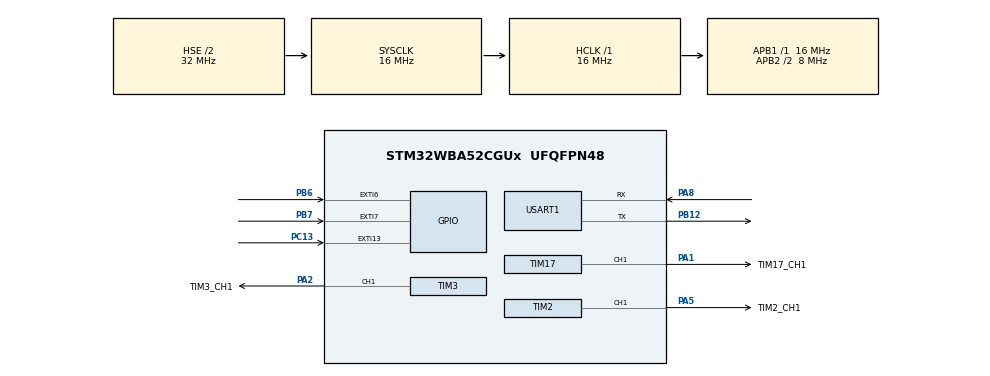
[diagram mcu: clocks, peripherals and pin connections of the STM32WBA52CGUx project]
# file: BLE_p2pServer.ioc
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ADC4.Channel-0\#ChannelRegularConversion=ADC_CHANNEL_TEMPSENSOR
ADC4.NbrOfConversionFlag=1
ADC4.Overrun=ADC_OVR_DATA_OVERWRITTEN
ADC4.Rank-0\#ChannelRegularConversion=1
ADC4.SamplingTime-0\#ChannelRegularConversion=ADC_SAMPLINGTIME_COMMON_1
ADC4.SamplingTimeCommon1=ADC_SAMPLETIME_814CYCLES_5
ADC4.SelectedChannel=ADC_CHANNEL_TEMPSENSOR
CORTEX_M33_NS.userName=CORTEX_M33
GPDMA1.DESTINC_GPDMACH1=DMA_DINC_INCREMENTED
GPDMA1.DIRECTION_GPDMACH0=DMA_MEMORY_TO_PERIPH
GPDMA1.IPHANDLE_GPDMACH0-SIMPLEREQUEST_GPDMACH0=__NULL
GPDMA1.IPHANDLE_GPDMACH1-SIMPLEREQUEST_GPDMACH1=__NULL
GPDMA1.REQUEST_GPDMACH0=GPDMA1_REQUEST_USART1_TX
GPDMA1.REQUEST_GPDMACH1=GPDMA1_REQUEST_USART1_RX
GPDMA1.SRCINC_GPDMACH0=DMA_SINC_INCREMENTED
Mcu.Family=STM32WBA
Mcu.Name=STM32WBA52CGUx
Mcu.Package=UFQFPN48
NVIC.EXTI13_IRQn=true\:9\:0\:true\:false\:true\:true\:true\:true
NVIC.EXTI6_IRQn=true\:9\:0\:true\:false\:true\:true\:true\:true
NVIC.EXTI7_IRQn=true\:9\:0\:true\:false\:true\:true\:true\:true
NVIC.GPDMA1_Channel0_IRQn=true\:6\:0\:true\:false\:true\:true\:true\:true
NVIC.GPDMA1_Channel1_IRQn=true\:5\:0\:true\:false\:true\:true\:true\:true
NVIC.PriorityGroup=NVIC_PRIORITYGROUP_4
NVIC.RADIO_IRQn=true\:0\:0\:true\:false\:true\:true\:false\:true
NVIC.RCC_IRQn=true\:1\:0\:true\:false\:true\:true\:false\:true
NVIC.RNG_IRQn=true\:0\:0\:false\:false\:true\:true\:true\:true
NVIC.RTC_IRQn=true\:4\:0\:true\:false\:true\:true\:true\:true
NVIC.USART1_IRQn=true\:7\:0\:true\:false\:true\:true\:true\:true
OSC_IN.Mode=HSE-External-Oscillator
OSC_IN.Signal=RCC_OSC_IN
OSC_OUT.Mode=HSE-External-Oscillator
OSC_OUT.Signal=RCC_OSC_OUT
PA1.GPIO_Label=TIM17_CH1
PA1.GPIO_PuPd=GPIO_PULLDOWN
PA1.Signal=S_TIM17_CH1
PA13\ (JTMS/SWDIO).Mode=Serial_Wire
PA13\ (JTMS/SWDIO).Signal=DEBUG_JTMS-SWDIO
PA14\ (JTCK/SWCLK).Mode=Serial_Wire
PA14\ (JTCK/SWCLK).Signal=DEBUG_JTCK-SWCLK
PA2.GPIO_Label=TIM3_CH1
PA2.GPIO_PuPd=GPIO_PULLDOWN
PA2.Signal=S_TIM3_CH1
PA5.GPIO_Label=TIM2_CH1
PA5.GPIO_PuPd=GPIO_PULLDOWN
PA5.Signal=S_TIM2_CH1
PA8.Mode=Asynchronous
PA8.Signal=USART1_RX
PB12.Mode=Asynchronous
PB12.Signal=USART1_TX
PB6.Signal=GPXTI6
PB7.Signal=GPXTI7
PC13.Signal=GPXTI13
PC14-OSC32_IN.Mode=LSE-External-Oscillator
PC14-OSC32_IN.Signal=RCC_OSC32_IN
PC15-OSC32_OUT.Mode=LSE-External-Oscillator
PC15-OSC32_OUT.Signal=RCC_OSC32_OUT
PWR.pwrPrivilege=PWR_PRIVILEGE_NO
ProjectManager.HeapSize=0x3000
ProjectManager.StackSize=0x1000
ProjectManager.TargetToolchain=STM32CubeIDE
RAMCFG.Instance-RAMCFG1_Activate=RAMCFG_SRAM1
RCC.ADCFreq_Value=16000000
RCC.AHBFreq_Value=16000000
RCC.APB1Freq_Value=16000000
RCC.APB1TimFreq_Value=16000000
RCC.APB2CLKDivider=RCC_HCLK_DIV2
RCC.APB2Freq_Value=8000000
RCC.APB2TimFreq_Value=16000000
RCC.CortexFreq_Value=16000000
RCC.HCLKFreq_Value=16000000
RCC.HSE_VALUE=32000000
RCC.HSI_VALUE=16000000
RCC.HseDiv=RCC_HSE_DIV2
RCC.PLLFRACN=0
RCC.PLLN=8
RCC.PREFETCH_ENABLE=1
RCC.PWR_Regulator_Voltage_Scale=PWR_REGULATOR_VOLTAGE_SCALE2
RCC.RCC_MCODiv=RCC_MCODIV_16
RCC.RSTClockSelectionVirtual=RCC_RADIOSTCLKSOURCE_LSE
RCC.RTCClockSelection=RCC_RTCCLKSOURCE_LSE
RCC.SYSCLKFreq_VALUE=16000000
RCC.SYSCLKSourceVirtual=RCC_SYSCLKSOURCE_HSE
RCC.USART1CLockSelectionVirtual=RCC_USART1CLKSOURCE_HSI
RCC.VCOOutputFreq_Value=128000000
RNG.ClockErrorDetection=RNG_CED_DISABLE
RTC.Alarm-Alarm\ A=RTC_ALARM_A
RTC.AsynchPrediv=31
RTC.BinMode=RTC_BINARY_ONLY
RTC.BinaryAutoClr_A-Alarm\ A=RTC_ALARMSUBSECONDBIN_AUTOCLR_NO
SH.S_TIM17_CH1.0=TIM17_CH1,PWM Generation1 CH1
SH.S_TIM2_CH1.0=TIM2_CH1,PWM Generation1 CH1
SH.S_TIM3_CH1.0=TIM3_CH1,PWM Generation1 CH1
STM32_WPAN.AD_TYPE_COMPLETE_LOCAL_NAME=p2pS_XX
STM32_WPAN.AD_TYPE_COMPLETE_LOCAL_NAME_LENGTH=8
STM32_WPAN.AD_TYPE_MANUFACTURER_DATA_NBR=12
STM32_WPAN.BLE_STACK_TYPE=BLE_STACK_TYPE_BASIC
STM32_WPAN.BSP.number=1
STM32_WPAN.CFG_AMM_VIRTUAL_BUFFER_SIZE_1=400
STM32_WPAN.CFG_BLE_ADDRESS_TYPE=GAP_PUBLIC_ADDR
STM32_WPAN.CFG_BLE_MAX_ATT_MTU=247
STM32_WPAN.CFG_BLE_NUM_LINK=8
STM32_WPAN.CFG_BONDING_MODE=1
STM32_WPAN.CFG_DEBUG_APP_TRACE=1
STM32_WPAN.CFG_DEBUG_TRACE_FULL=1
STM32_WPAN.CFG_DEBUG_TRACE_LIGHT=0
STM32_WPAN.CFG_GAP_DEVICE_NAME=Color LED Strip
STM32_WPAN.CFG_GAP_DEVICE_NAME_LENGTH=15
STM32_WPAN.CFG_HW_USART1_ENABLED=1
STM32_WPAN.CFG_MM_POOL_SIZE=4000
STM32_WPAN.CFG_TX_POWER=(0x19) /* 0x19 <\=> -0.3 dBm */
STM32_WPAN.GAP_PERIPHERAL_ROLE=1
STM32_WPAN.INCLUDE_AD_TYPE_COMPLETE_LOCAL_NAME=1
STM32_WPAN.INCLUDE_AD_TYPE_MANUFACTURER_SPECIFIC_DATA=1
STM32_WPAN.NEXT_EVENT_SCHEDULING_FROM_ISR=1
STM32_WPAN.NUMBER_OF_SERVICES=1
STM32_WPAN.PAIRING_PARAMETERS=ON
STM32_WPAN.RADIO_INTR_PRIO_LOW=3
STM32_WPAN.RADIO_SW_LOW_INTR_NUM=HASH_IRQn
STM32_WPAN.RT_DEBUG_GPIO_MODULE=0
STM32_WPAN.SERVICE1_CHAR1_GATT_NOTIFY_READ_REQ_AND_WAIT_FOR_APPL_RESP=\ 
STM32_WPAN.SERVICE1_CHAR1_GATT_NOTIFY_WRITE_REQ_AND_WAIT_FOR_APPL_RESP=\ 
STM32_WPAN.SERVICE1_CHAR1_LENGTH_CHARACTERISTIC=CHAR_VALUE_LEN_VARIABLE
STM32_WPAN.SERVICE1_CHAR1_LONG_NAME=My_LED_Char
STM32_WPAN.SERVICE1_CHAR1_PROP_READ=CHAR_PROP_READ
STM32_WPAN.SERVICE1_CHAR1_PROP_WRITE_WITHOUT_RESP=CHAR_PROP_WRITE_WITHOUT_RESP
STM32_WPAN.SERVICE1_CHAR1_SHORT_NAME=LED_C
STM32_WPAN.SERVICE1_CHAR1_UUID=FE 41
STM32_WPAN.SERVICE1_CHAR1_VALUE_LENGTH=3
STM32_WPAN.SERVICE1_CHAR2_GATT_NOTIFY_READ_REQ_AND_WAIT_FOR_APPL_RESP=\ 
STM32_WPAN.SERVICE1_CHAR2_GATT_NOTIFY_WRITE_REQ_AND_WAIT_FOR_APPL_RESP=\ 
STM32_WPAN.SERVICE1_CHAR2_LENGTH_CHARACTERISTIC=CHAR_VALUE_LEN_VARIABLE
STM32_WPAN.SERVICE1_CHAR2_LONG_NAME=My_Switch_Char
STM32_WPAN.SERVICE1_CHAR2_PROP_NOTIFY=CHAR_PROP_NOTIFY
STM32_WPAN.SERVICE1_CHAR2_PROP_WRITE=\ 
STM32_WPAN.SERVICE1_CHAR2_SHORT_NAME=SWITCH_C
STM32_WPAN.SERVICE1_CHAR2_UUID=FE 42
STM32_WPAN.SERVICE1_CHAR2_VALUE_LENGTH=2
STM32_WPAN.SERVICE1_LONG_NAME=P2P_Server
STM32_WPAN.SERVICE1_NUMBER_OF_CHARACTERISTICS=2
STM32_WPAN.SERVICE1_SHORT_NAME=P2P_Server
STM32_WPAN.SERVICE1_UUID=FE 40
STM32_WPAN.SNVMA_POLY_CRC16=1DB7
STM32_WPAN.STATIC_RANDOM_ADDRESS=0xABCDABCDABCD
STM32_WPAN0.BSP.STBoard=false
STM32_WPAN0.BSP.api=Unknown
STM32_WPAN0.BSP.condition=((USART1 | USART2 | S_LPUART) & (Semaphore_ADV_TRACE_TIMESTAMP_ENABLE | CFG_DEBUG_APP_TRACE | CFG_DEBUG_TRACE_LIGHT | CFG_DEBUG_TRACE_FULL))
STM32_WPAN0.BSP.instance=USART1
STM32_WPAN0.BSP.ip=(LPU|US)ART
STM32_WPAN0.BSP.mode=Asynchronous
STM32_WPAN0.BSP.name=Serial Link for Traces
STM32_WPAN0.BSP.solution=USART1
TIM17.Channel=TIM_CHANNEL_1
TIM17.PeriodNoDither=timxPeriod3
TIM17.Prescaler=timxPrescaler3
TIM17.PulseNoDither_1=((timxPeriod3+1)/2)
TIM2.Channel-PWM\ Generation1\ CH1=TIM_CHANNEL_1
TIM2.PeriodNoDither=timxPeriod2
TIM2.Prescaler=timxPrescaler2
TIM2.PulseNoDither_1=((timxPeriod2 + 1)/2)
TIM3.AutoReloadPreload=TIM_AUTORELOAD_PRELOAD_ENABLE
TIM3.Channel-PWM\ Generation1\ CH1=TIM_CHANNEL_1
TIM3.PeriodNoDither=timxPeriod
TIM3.Prescaler=timxPrescaler
TIM3.PulseNoDither_1=((timxPeriod +1)/2)
USART1.FIFOMode=FIFOMODE_ENABLE
USART1.OverSampling=UART_OVERSAMPLING_8
USART1.VirtualMode-Asynchronous=VM_ASYNC
VP_ADC4_TempSens_Input.Mode=IN-TempSens
VP_ADV_TRACE_VS_ADV_TRACE.Mode=ADV_TRACE_Enabled
VP_CRC_VS_CRC.Mode=CRC_Activate
VP_GPDMA1_VS_GPDMACH0.Mode=SIMPLEREQUEST_GPDMACH0
VP_GPDMA1_VS_GPDMACH1.Mode=SIMPLEREQUEST_GPDMACH1
VP_ICACHE_VS_ICACHE.Mode=DirectMappedCache
VP_MISC_VS_MISC.Mode=MISC_Enabled
VP_PWR_VS_SECSignals.Mode=Security/Privilege
VP_RAMCFG_VS_RAMCFG1.Mode=RAMCFG1_Activate
VP_RF_VS_RF.Mode=RF_Activate
VP_RNG_VS_RNG.Mode=RNG_Activate
VP_RTC_VS_RTC_Activate.Mode=RTC_Enabled
VP_RTC_VS_RTC_Alarm_A_Intern.Mode=Alarm A
VP_RTC_VS_RTC_Calendar.Mode=RTC_Calendar
VP_SEQUENCER_VS_SEQUENCER.Mode=SEQUENCER_Enabled
VP_STM32_WPAN_VS_BLE_HOST_SP.Mode=STM32_WPAN_Enabled_Server
VP_TIM17_VS_ClockSourceINT.Mode=Enable_Timer
VP_TIMER_VS_TIMER.Mode=TIMER_Enabled
VP_TINY_LPM_VS_TINY_LPM.Mode=TINY_LPM_Enabled
board=NUCLEO-WBA52CG

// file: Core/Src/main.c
/* USER CODE BEGIN Header */
/**
 ******************************************************************************
 * @file           : main.c
 * @brief          : Main program body
 ******************************************************************************
 * @attention
 *
 * Copyright (c) 2022 STMicroelectronics.
 * All rights reserved.
 *
 * This software is licensed under terms that can be found in the LICENSE file
 * in the root directory of this software component.
 * If no LICENSE file comes with this software, it is provided AS-IS.
 *
 ******************************************************************************
 */
/* USER CODE END Header */
#include "main.h"

/* USER CODE BEGIN PD */
/* Number of output compare modes */
#define TIM_DUTY_CYCLES_NB 11

/* USER CODE END PD */

ADC_HandleTypeDef hadc4;

CRC_HandleTypeDef hcrc;

RAMCFG_HandleTypeDef hramcfg_SRAM1;

RNG_HandleTypeDef hrng;

RTC_HandleTypeDef hrtc;

TIM_HandleTypeDef htim2;
TIM_HandleTypeDef htim3;
TIM_HandleTypeDef htim17;

UART_HandleTypeDef huart1;
DMA_HandleTypeDef handle_GPDMA1_Channel1;
DMA_HandleTypeDef handle_GPDMA1_Channel0;

/* USER CODE BEGIN PV */

/* Captured Value */
__IO uint32_t uwIC2Value = 0;
/* Duty Cycle Value */
__IO uint32_t uwDutyCycle = 0;
/* Frequency Value */
__IO uint32_t uwFrequency = 0;

/* Counter Prescaler value */
uint32_t uhPrescalerValue = 0;

/* Duty cycles: D = T/P * 100%                                                */
/* where T is the pulse duration and P  the period of the PWM signal          */
static uint32_t aDutyCycle[TIM_DUTY_CYCLES_NB] = { 0, /*  0% */
10, /* 10% */
20, /* 20% */
30, /* 30% */
40, /* 40% */
50, /* 50% */
60, /* 60% */
70, /* 70% */
80, /* 80% */
90, /* 90% */
100, /* 100% */
};

/* Measured duty cycle */
__IO uint32_t uwMeasuredDutyCycle = 0;

/* TIM2 Clock */
static uint32_t TimOutClock = 1;
uint32_t timxPrescaler = 0;
uint32_t timxPeriod = 0;
uint32_t timxPrescaler2 = 0;
uint32_t timxPeriod2 = 0;
uint32_t timxPrescaler3 = 0;
uint32_t timxPeriod3 = 0;

/* USER CODE END PV */

void SystemClock_Config(void);
void PeriphCommonClock_Config(void);
static void MX_GPDMA1_Init(void);
static void MX_ADC4_Init(void);
static void MX_TIM3_Init(void);
static void MX_TIM2_Init(void);
static void MX_TIM17_Init(void);
/* USER CODE BEGIN PFP */
__STATIC_INLINE void Configure_DutyCycle(uint32_t R, uint32_t G, uint32_t B);
void UserButton_Callback(void);
/* USER CODE END PFP */

int main(void)
{
  /* USER CODE BEGIN 1 */

	/* STM32WBAxx HAL library initialization:
	 - Systick timer is configured by default as source of time base, but user
	 can eventually implement his proper time base source (a general purpose
	 timer for example or other time source), keeping in mind that Time base
	 duration should be kept 1ms since PPP_TIMEOUT_VALUEs are defined and
	 handled in milliseconds basis.
	 - Set NVIC Group Priority to 4
	 - Low Level Initialization
	 */

  /* USER CODE END 1 */

  /* MCU Configuration--------------------------------------------------------*/

  /* Reset of all peripherals, Initializes the Flash interface and the Systick. */
  HAL_Init();
  /* Config code for STM32_WPAN (HSE Tuning must be done before system clock configuration) */
  MX_APPE_Config();

  /* Configure the system clock */
  SystemClock_Config();

/* Configure the peripherals common clocks */
  PeriphCommonClock_Config();

  /* USER CODE BEGIN SysInit */
	/* - Set the pre-scaler value to have TIM3 counter clock equal to 10 kHz  */
	/* - Set the auto-reload value to have a counter frequency of 100 Hz        */
	/* TIM3CLK = SystemCoreClock / (APB prescaler & multiplier)               */
	TimOutClock = SystemCoreClock / 1;
	timxPrescaler = __LL_TIM_CALC_PSC(SystemCoreClock, 10000);
	timxPeriod = __LL_TIM_CALC_ARR(TimOutClock, timxPrescaler, 200);
	timxPrescaler2 = __LL_TIM_CALC_PSC(SystemCoreClock, 10000);
	timxPeriod2 = __LL_TIM_CALC_ARR(TimOutClock, timxPrescaler2, 200);
	timxPrescaler3 = __LL_TIM_CALC_PSC(SystemCoreClock, 10000);
	timxPeriod3 = __LL_TIM_CALC_ARR(TimOutClock, timxPrescaler3, 200);
  /* USER CODE END SysInit */

  /* Initialize all configured peripherals */
  MX_GPIO_Init();
  MX_GPDMA1_Init();
  MX_ICACHE_Init();
  MX_RAMCFG_Init();
  MX_RTC_Init();
  MX_USART1_UART_Init();
  MX_ADC4_Init();
  MX_RNG_Init();
  MX_TIM3_Init();
  MX_TIM2_Init();
  MX_TIM17_Init();
  /* USER CODE BEGIN 2 */

	if (HAL_TIM_PWM_Start(&htim2, TIM_CHANNEL_1) != HAL_OK) {
		/* PWM Generation Error */
		Error_Handler();
	}
	/* Start Input waveform generation */
	if (HAL_TIM_PWM_Start(&htim3, TIM_CHANNEL_1) != HAL_OK) {
		/* PWM Generation Error */
		Error_Handler();
	}
	if (HAL_TIM_PWM_Start(&htim17, TIM_CHANNEL_1) != HAL_OK) {
		/* PWM Generation Error */
		Error_Handler();
	}
	/**************************/
	/* TIM3 interrupts set-up */
	/**************************/
	LL_TIM_EnableIT_CC1(TIM2);
	/* Enable the capture/compare interrupt for channel 1 */
	LL_TIM_EnableIT_CC1(TIM3);
	LL_TIM_EnableIT_CC1(TIM17);

	/**********************************/
	/* Start output signal generation */
	/**********************************/
	LL_TIM_CC_EnableChannel(TIM2, LL_TIM_CHANNEL_CH1);
	/* Enable output channel 1 */
	LL_TIM_CC_EnableChannel(TIM3, LL_TIM_CHANNEL_CH1);
	LL_TIM_CC_EnableChannel(TIM17, LL_TIM_CHANNEL_CH1);

	/* Enable counter */
	LL_TIM_EnableCounter(TIM2);
	LL_TIM_EnableCounter(TIM3);
	LL_TIM_EnableCounter(TIM17);

	/* Force update generation */
	LL_TIM_GenerateEvent_UPDATE(TIM2);
	LL_TIM_GenerateEvent_UPDATE(TIM3);
	LL_TIM_GenerateEvent_UPDATE(TIM17);
  /* USER CODE END 2 */

  /* Init code for STM32_WPAN */
  MX_APPE_Init(NULL);

  /* Infinite loop */
  /* USER CODE BEGIN WHILE */
	__HAL_TIM_SET_COMPARE(&htim3, TIM_CHANNEL_1, 50);
	__HAL_TIM_SET_COMPARE(&htim2, TIM_CHANNEL_1, 50);
	__HAL_TIM_SET_COMPARE(&htim17, TIM_CHANNEL_1, 50);

	while (1) {
    /* USER CODE END WHILE */
    MX_APPE_Process();

	}
}

void SystemClock_Config(void)
{
  RCC_OscInitTypeDef RCC_OscInitStruct = {0};
  RCC_ClkInitTypeDef RCC_ClkInitStruct = {0};

  /** Configure the main internal regulator output voltage
  */
  if (HAL_PWREx_ControlVoltageScaling(PWR_REGULATOR_VOLTAGE_SCALE2) != HAL_OK)
  {
    Error_Handler();
  }

  /** Configure LSE Drive Capability
  */
  HAL_PWR_EnableBkUpAccess();
  __HAL_RCC_LSEDRIVE_CONFIG(RCC_LSEDRIVE_MEDIUMLOW);

  /** Initializes the CPU, AHB and APB busses clocks
  */
  RCC_OscInitStruct.OscillatorType = RCC_OSCILLATORTYPE_HSI|RCC_OSCILLATORTYPE_HSE
                              |RCC_OSCILLATORTYPE_LSE;
  RCC_OscInitStruct.HSEState = RCC_HSE_ON;
  RCC_OscInitStruct.HSEDiv = RCC_HSE_DIV2;
  RCC_OscInitStruct.LSEState = RCC_LSE_ON;
  RCC_OscInitStruct.HSIState = RCC_HSI_ON;
  RCC_OscInitStruct.HSICalibrationValue = RCC_HSICALIBRATION_DEFAULT;
  RCC_OscInitStruct.PLL1.PLLState = RCC_PLL_NONE;
  if (HAL_RCC_OscConfig(&RCC_OscInitStruct) != HAL_OK)
  {
    Error_Handler();
  }

  /** Initializes the CPU, AHB and APB busses clocks
  */
  RCC_ClkInitStruct.ClockType = RCC_CLOCKTYPE_HCLK|RCC_CLOCKTYPE_SYSCLK
                              |RCC_CLOCKTYPE_PCLK1|RCC_CLOCKTYPE_PCLK2
                              |RCC_CLOCKTYPE_PCLK7|RCC_CLOCKTYPE_HCLK5;
  RCC_ClkInitStruct.SYSCLKSource = RCC_SYSCLKSOURCE_HSE;
  RCC_ClkInitStruct.AHBCLKDivider = RCC_SYSCLK_DIV1;
  RCC_ClkInitStruct.APB1CLKDivider = RCC_HCLK_DIV1;
  RCC_ClkInitStruct.APB2CLKDivider = RCC_HCLK_DIV2;
  RCC_ClkInitStruct.APB7CLKDivider = RCC_HCLK_DIV1;
  RCC_ClkInitStruct.AHB5_PLL1_CLKDivider = RCC_SYSCLK_PLL1_DIV1;
  RCC_ClkInitStruct.AHB5_HSEHSI_CLKDivider = RCC_SYSCLK_HSEHSI_DIV1;

  if (HAL_RCC_ClockConfig(&RCC_ClkInitStruct, FLASH_LATENCY_1) != HAL_OK)
  {
    Error_Handler();
  }
}

void PeriphCommonClock_Config(void)
{
  RCC_PeriphCLKInitTypeDef PeriphClkInit = {0};

  /** Initializes the peripherals clock
  */
  PeriphClkInit.PeriphClockSelection = RCC_PERIPHCLK_RADIOST;
  PeriphClkInit.RadioSlpTimClockSelection = RCC_RADIOSTCLKSOURCE_LSE;

  if (HAL_RCCEx_PeriphCLKConfig(&PeriphClkInit) != HAL_OK)
  {
    Error_Handler();
  }
}

static void MX_ADC4_Init(void)
{

  ADC_ChannelConfTypeDef sConfig = {0};

  /** Common config
  */
  hadc4.Instance = ADC4;
  hadc4.Init.ClockPrescaler = ADC_CLOCK_ASYNC_DIV1;
  hadc4.Init.Resolution = ADC_RESOLUTION_12B;
  hadc4.Init.DataAlign = ADC_DATAALIGN_RIGHT;
  hadc4.Init.ScanConvMode = ADC_SCAN_DISABLE;
  hadc4.Init.EOCSelection = ADC_EOC_SINGLE_CONV;
  hadc4.Init.LowPowerAutoPowerOff = DISABLE;
  hadc4.Init.LowPowerAutonomousDPD = ADC_LP_AUTONOMOUS_DPD_DISABLE;
  hadc4.Init.LowPowerAutoWait = DISABLE;
  hadc4.Init.ContinuousConvMode = DISABLE;
  hadc4.Init.NbrOfConversion = 1;
  hadc4.Init.ExternalTrigConv = ADC_SOFTWARE_START;
  hadc4.Init.ExternalTrigConvEdge = ADC_EXTERNALTRIGCONVEDGE_NONE;
  hadc4.Init.DMAContinuousRequests = DISABLE;
  hadc4.Init.TriggerFrequencyMode = ADC_TRIGGER_FREQ_LOW;
  hadc4.Init.Overrun = ADC_OVR_DATA_OVERWRITTEN;
  hadc4.Init.SamplingTimeCommon1 = ADC_SAMPLETIME_814CYCLES_5;
  hadc4.Init.SamplingTimeCommon2 = ADC_SAMPLETIME_1CYCLE_5;
  hadc4.Init.OversamplingMode = DISABLE;
  if (HAL_ADC_Init(&hadc4) != HAL_OK)
  {
    Error_Handler();
  }

  /** Configure Regular Channel
  */
  sConfig.Channel = ADC_CHANNEL_TEMPSENSOR;
  sConfig.Rank = ADC_REGULAR_RANK_1;
  sConfig.SamplingTime = ADC_SAMPLINGTIME_COMMON_1;
  if (HAL_ADC_ConfigChannel(&hadc4, &sConfig) != HAL_OK)
  {
    Error_Handler();
  }

}

void MX_CRC_Init(void)
{

  hcrc.Instance = CRC;
  hcrc.Init.DefaultPolynomialUse = DEFAULT_POLYNOMIAL_DISABLE;
  hcrc.Init.DefaultInitValueUse = DEFAULT_INIT_VALUE_ENABLE;
  hcrc.Init.GeneratingPolynomial = 7;
  hcrc.Init.CRCLength = CRC_POLYLENGTH_16B;
  hcrc.Init.InputDataInversionMode = CRC_INPUTDATA_INVERSION_NONE;
  hcrc.Init.OutputDataInversionMode = CRC_OUTPUTDATA_INVERSION_DISABLE;
  hcrc.InputDataFormat = CRC_INPUTDATA_FORMAT_WORDS;
  if (HAL_CRC_Init(&hcrc) != HAL_OK)
  {
    Error_Handler();
  }

}

static void MX_GPDMA1_Init(void)
{

  /* Peripheral clock enable */
  __HAL_RCC_GPDMA1_CLK_ENABLE();

  /* GPDMA1 interrupt Init */
    HAL_NVIC_SetPriority(GPDMA1_Channel0_IRQn, 6, 0);
    HAL_NVIC_EnableIRQ(GPDMA1_Channel0_IRQn);
    HAL_NVIC_SetPriority(GPDMA1_Channel1_IRQn, 5, 0);
    HAL_NVIC_EnableIRQ(GPDMA1_Channel1_IRQn);

}

void MX_ICACHE_Init(void)
{

  /* USER CODE BEGIN ICACHE_Init 1 */
	/* No retention for ICACHE in stop mode */
	LL_PWR_SetICacheRAMStopRetention(LL_PWR_ICACHERAM_STOP_NO_RETENTION);
  /* USER CODE END ICACHE_Init 1 */

  /** Enable instruction cache in 1-way (direct mapped cache)
  */
  if (HAL_ICACHE_ConfigAssociativityMode(ICACHE_1WAY) != HAL_OK)
  {
    Error_Handler();
  }
  if (HAL_ICACHE_Enable() != HAL_OK)
  {
    Error_Handler();
  }

}

void MX_RAMCFG_Init(void)
{

  /** Initialize RAMCFG SRAM1
  */
  hramcfg_SRAM1.Instance = RAMCFG_SRAM1;
  if (HAL_RAMCFG_Init(&hramcfg_SRAM1) != HAL_OK)
  {
    Error_Handler();
  }

}

void MX_RNG_Init(void)
{

  /* USER CODE BEGIN RNG_Init 0 */
	memset(&hrng, 0, sizeof(hrng));
  /* USER CODE END RNG_Init 0 */

  hrng.Instance = RNG;
  hrng.Init.ClockErrorDetection = RNG_CED_DISABLE;
  if (HAL_RNG_Init(&hrng) != HAL_OK)
  {
    Error_Handler();
  }
  /* USER CODE BEGIN RNG_Init 2 */

	/* Disable RNG peripheral and its RCC clock */
	HW_RNG_Disable();

  /* USER CODE END RNG_Init 2 */

}

void MX_RTC_Init(void)
{

  RTC_PrivilegeStateTypeDef privilegeState = {0};
  RTC_AlarmTypeDef sAlarm = {0};

  /** Initialize RTC Only
  */
  hrtc.Instance = RTC;
  hrtc.Init.AsynchPrediv = 31;
  hrtc.Init.OutPut = RTC_OUTPUT_DISABLE;
  hrtc.Init.OutPutRemap = RTC_OUTPUT_REMAP_NONE;
  hrtc.Init.OutPutPolarity = RTC_OUTPUT_POLARITY_HIGH;
  hrtc.Init.OutPutType = RTC_OUTPUT_TYPE_OPENDRAIN;
  hrtc.Init.OutPutPullUp = RTC_OUTPUT_PULLUP_NONE;
  hrtc.Init.BinMode = RTC_BINARY_ONLY;
  if (HAL_RTC_Init(&hrtc) != HAL_OK)
  {
    Error_Handler();
  }
  privilegeState.rtcPrivilegeFull = RTC_PRIVILEGE_FULL_NO;
  privilegeState.backupRegisterPrivZone = RTC_PRIVILEGE_BKUP_ZONE_NONE;
  privilegeState.backupRegisterStartZone2 = RTC_BKP_DR0;
  privilegeState.backupRegisterStartZone3 = RTC_BKP_DR0;
  if (HAL_RTCEx_PrivilegeModeSet(&hrtc, &privilegeState) != HAL_OK)
  {
    Error_Handler();
  }

  /** Initialize RTC and set the Time and Date
  */
  if (HAL_RTCEx_SetSSRU_IT(&hrtc) != HAL_OK)
  {
    Error_Handler();
  }

  /** Enable the Alarm A
  */
  sAlarm.BinaryAutoClr = RTC_ALARMSUBSECONDBIN_AUTOCLR_NO;
  sAlarm.AlarmTime.SubSeconds = 0x0;
  sAlarm.AlarmMask = RTC_ALARMMASK_NONE;
  sAlarm.AlarmSubSecondMask = RTC_ALARMSUBSECONDBINMASK_NONE;
  sAlarm.Alarm = RTC_ALARM_A;
  if (HAL_RTC_SetAlarm_IT(&hrtc, &sAlarm, RTC_FORMAT_BCD) != HAL_OK)
  {
    Error_Handler();
  }

}

static void MX_TIM2_Init(void)
{

  TIM_MasterConfigTypeDef sMasterConfig = {0};
  TIM_OC_InitTypeDef sConfigOC = {0};

  htim2.Instance = TIM2;
  htim2.Init.Prescaler = timxPrescaler2;
  htim2.Init.CounterMode = TIM_COUNTERMODE_UP;
  htim2.Init.Period = timxPeriod2;
  htim2.Init.ClockDivision = TIM_CLOCKDIVISION_DIV1;
  htim2.Init.AutoReloadPreload = TIM_AUTORELOAD_PRELOAD_DISABLE;
  if (HAL_TIM_PWM_Init(&htim2) != HAL_OK)
  {
    Error_Handler();
  }
  sMasterConfig.MasterOutputTrigger = TIM_TRGO_RESET;
  sMasterConfig.MasterSlaveMode = TIM_MASTERSLAVEMODE_DISABLE;
  if (HAL_TIMEx_MasterConfigSynchronization(&htim2, &sMasterConfig) != HAL_OK)
  {
    Error_Handler();
  }
  sConfigOC.OCMode = TIM_OCMODE_PWM1;
  sConfigOC.Pulse = ((timxPeriod2 + 1)/2);
  sConfigOC.OCPolarity = TIM_OCPOLARITY_HIGH;
  sConfigOC.OCFastMode = TIM_OCFAST_DISABLE;
  if (HAL_TIM_PWM_ConfigChannel(&htim2, &sConfigOC, TIM_CHANNEL_1) != HAL_OK)
  {
    Error_Handler();
  }
  HAL_TIM_MspPostInit(&htim2);

}

static void MX_TIM3_Init(void)
{

  TIM_MasterConfigTypeDef sMasterConfig = {0};
  TIM_OC_InitTypeDef sConfigOC = {0};

  htim3.Instance = TIM3;
  htim3.Init.Prescaler = timxPrescaler;
  htim3.Init.CounterMode = TIM_COUNTERMODE_UP;
  htim3.Init.Period = timxPeriod;
  htim3.Init.ClockDivision = TIM_CLOCKDIVISION_DIV1;
  htim3.Init.AutoReloadPreload = TIM_AUTORELOAD_PRELOAD_ENABLE;
  if (HAL_TIM_PWM_Init(&htim3) != HAL_OK)
  {
    Error_Handler();
  }
  sMasterConfig.MasterOutputTrigger = TIM_TRGO_RESET;
  sMasterConfig.MasterSlaveMode = TIM_MASTERSLAVEMODE_DISABLE;
  if (HAL_TIMEx_MasterConfigSynchronization(&htim3, &sMasterConfig) != HAL_OK)
  {
    Error_Handler();
  }
  sConfigOC.OCMode = TIM_OCMODE_PWM1;
  sConfigOC.Pulse = ((timxPeriod +1)/2);
  sConfigOC.OCPolarity = TIM_OCPOLARITY_HIGH;
  sConfigOC.OCFastMode = TIM_OCFAST_DISABLE;
  if (HAL_TIM_PWM_ConfigChannel(&htim3, &sConfigOC, TIM_CHANNEL_1) != HAL_OK)
  {
    Error_Handler();
  }
  HAL_TIM_MspPostInit(&htim3);

}

static void MX_TIM17_Init(void)
{

  TIM_OC_InitTypeDef sConfigOC = {0};
  TIM_BreakDeadTimeConfigTypeDef sBreakDeadTimeConfig = {0};

  htim17.Instance = TIM17;
  htim17.Init.Prescaler = timxPrescaler3;
  htim17.Init.CounterMode = TIM_COUNTERMODE_UP;
  htim17.Init.Period = timxPeriod3;
  htim17.Init.ClockDivision = TIM_CLOCKDIVISION_DIV1;
  htim17.Init.RepetitionCounter = 0;
  htim17.Init.AutoReloadPreload = TIM_AUTORELOAD_PRELOAD_DISABLE;
  if (HAL_TIM_Base_Init(&htim17) != HAL_OK)
  {
    Error_Handler();
  }
  if (HAL_TIM_PWM_Init(&htim17) != HAL_OK)
  {
    Error_Handler();
  }
  sConfigOC.OCMode = TIM_OCMODE_PWM1;
  sConfigOC.Pulse = ((timxPeriod3+1)/2);
  sConfigOC.OCPolarity = TIM_OCPOLARITY_HIGH;
  sConfigOC.OCNPolarity = TIM_OCNPOLARITY_HIGH;
  sConfigOC.OCFastMode = TIM_OCFAST_DISABLE;
  sConfigOC.OCIdleState = TIM_OCIDLESTATE_RESET;
  sConfigOC.OCNIdleState = TIM_OCNIDLESTATE_RESET;
  if (HAL_TIM_PWM_ConfigChannel(&htim17, &sConfigOC, TIM_CHANNEL_1) != HAL_OK)
  {
    Error_Handler();
  }
  sBreakDeadTimeConfig.OffStateRunMode = TIM_OSSR_DISABLE;
  sBreakDeadTimeConfig.OffStateIDLEMode = TIM_OSSI_DISABLE;
  sBreakDeadTimeConfig.LockLevel = TIM_LOCKLEVEL_OFF;
  sBreakDeadTimeConfig.DeadTime = 0;
  sBreakDeadTimeConfig.BreakState = TIM_BREAK_DISABLE;
  sBreakDeadTimeConfig.BreakPolarity = TIM_BREAKPOLARITY_HIGH;
  sBreakDeadTimeConfig.BreakFilter = 0;
  sBreakDeadTimeConfig.AutomaticOutput = TIM_AUTOMATICOUTPUT_DISABLE;
  if (HAL_TIMEx_ConfigBreakDeadTime(&htim17, &sBreakDeadTimeConfig) != HAL_OK)
  {
    Error_Handler();
  }
  HAL_TIM_MspPostInit(&htim17);

}

void MX_USART1_UART_Init(void)
{

  huart1.Instance = USART1;
  huart1.Init.BaudRate = 115200;
  huart1.Init.WordLength = UART_WORDLENGTH_8B;
  huart1.Init.StopBits = UART_STOPBITS_1;
  huart1.Init.Parity = UART_PARITY_NONE;
  huart1.Init.Mode = UART_MODE_TX_RX;
  huart1.Init.HwFlowCtl = UART_HWCONTROL_NONE;
  huart1.Init.OverSampling = UART_OVERSAMPLING_8;
  huart1.Init.OneBitSampling = UART_ONE_BIT_SAMPLE_DISABLE;
  huart1.Init.ClockPrescaler = UART_PRESCALER_DIV1;
  huart1.AdvancedInit.AdvFeatureInit = UART_ADVFEATURE_NO_INIT;
  if (HAL_UART_Init(&huart1) != HAL_OK)
  {
    Error_Handler();
  }
  if (HAL_UARTEx_SetTxFifoThreshold(&huart1, UART_TXFIFO_THRESHOLD_1_8) != HAL_OK)
  {
    Error_Handler();
  }
  if (HAL_UARTEx_SetRxFifoThreshold(&huart1, UART_RXFIFO_THRESHOLD_1_8) != HAL_OK)
  {
    Error_Handler();
  }
  if (HAL_UARTEx_EnableFifoMode(&huart1) != HAL_OK)
  {
    Error_Handler();
  }

}

void MX_GPIO_Init(void)
{
  GPIO_InitTypeDef GPIO_InitStruct = {0};

  /* GPIO Ports Clock Enable */
  __HAL_RCC_GPIOB_CLK_ENABLE();
  __HAL_RCC_GPIOA_CLK_ENABLE();
  __HAL_RCC_GPIOC_CLK_ENABLE();

  /*RT DEBUG GPIO_Init */
  RT_DEBUG_GPIO_Init();

  /*Configure GPIO pin : PC13 */
  GPIO_InitStruct.Pin = GPIO_PIN_13;
  GPIO_InitStruct.Mode = GPIO_MODE_IT_RISING;
  GPIO_InitStruct.Pull = GPIO_NOPULL;
  HAL_GPIO_Init(GPIOC, &GPIO_InitStruct);

  /*Configure GPIO pins : PB7 PB6 */
  GPIO_InitStruct.Pin = GPIO_PIN_7|GPIO_PIN_6;
  GPIO_InitStruct.Mode = GPIO_MODE_IT_RISING;
  GPIO_InitStruct.Pull = GPIO_NOPULL;
  HAL_GPIO_Init(GPIOB, &GPIO_InitStruct);

  /* EXTI interrupt init*/
  HAL_NVIC_SetPriority(EXTI6_IRQn, 9, 0);
  HAL_NVIC_EnableIRQ(EXTI6_IRQn);

  HAL_NVIC_SetPriority(EXTI7_IRQn, 9, 0);
  HAL_NVIC_EnableIRQ(EXTI7_IRQn);

  HAL_NVIC_SetPriority(EXTI13_IRQn, 9, 0);
  HAL_NVIC_EnableIRQ(EXTI13_IRQn);

/* USER CODE BEGIN MX_GPIO_Init_2 */
#if (CFG_DBG_SUPPORTED == 0)
  GPIO_InitStruct.Mode = GPIO_MODE_ANALOG;
  GPIO_InitStruct.Pull = GPIO_NOPULL;
  GPIO_InitStruct.Pin = GPIO_PIN_14|GPIO_PIN_15|GPIO_PIN_13;
  HAL_GPIO_Init(GPIOA, &GPIO_InitStruct);

  GPIO_InitStruct.Mode = GPIO_MODE_ANALOG;
  GPIO_InitStruct.Pull = GPIO_NOPULL;
  GPIO_InitStruct.Pin = GPIO_PIN_3|GPIO_PIN_4;
  HAL_GPIO_Init(GPIOB, &GPIO_InitStruct);
#endif
/* USER CODE END MX_GPIO_Init_2 */
}

/* USER CODE BEGIN 4 */
/**
 * @brief  Changes the duty cycle of the PWM signal.
 *         D = (T/P)*100
 *           where T is the pulse duration and P is the PWM signal period
 * @param  D Duty cycle
 * @retval None
 */
__STATIC_INLINE void Configure_DutyCycle(uint32_t R, uint32_t G, uint32_t B) {
	uint32_t PR, PG, PB; /* Pulse duration */
	uint32_t T; /* PWM signal period */

	/* PWM signal period is determined by the value of the auto-reload register */
	T = LL_TIM_GetAutoReload(TIM3) + 1;

	/* Pulse duration is determined by the value of the compare register.       */
	/* Its value is calculated in order to match the requested duty cycle.      */
	PR = (R * T) / 100;
	PG = (G * T) / 100;
	PB = (B * T) / 100;
	LL_TIM_OC_SetCompareCH1(TIM3, PR);
	LL_TIM_OC_SetCompareCH1(TIM2, PG);
	LL_TIM_OC_SetCompareCH1(TIM17, PB);
}

void Ming_Color(Color_t color) {
	uint32_t r = (color.R * 100 / 255);
	uint32_t g = (color.G * 100 / 255);
	uint32_t b = (color.B * 100 / 255);
	Configure_DutyCycle(r, g, b);
}

/**
 * @brief  Input Capture callback in non blocking mode
 * @param  htim : TIM IC handle
 * @retval None
 */
void TimerCaptureCompare_Ch2_Callback() {
	/* Get the Input Capture value */
	uwIC2Value = LL_TIM_IC_GetCaptureCH2(TIM3);

	if (uwIC2Value != 0) {
		/* Duty cycle computation */
		uwDutyCycle = (LL_TIM_IC_GetCaptureCH1(TIM3) * 100) / uwIC2Value;

		/* uwFrequency computation
		 TIM3 freq  = SystemCoreClock */
		uwFrequency = SystemCoreClock / (1 * uwIC2Value);
	} else {
		uwDutyCycle = 0;
		uwFrequency = 0;
	}
}
/* USER CODE END 4 */

void Error_Handler(void)
{
	__disable_irq();
	while (1) {
	}
}

#ifdef  USE_FULL_ASSERT
/**
  * @brief  Reports the name of the source file and the source line number
  *         where the assert_param error has occurred.
  * @param  file: pointer to the source file name
  * @param  line: assert_param error line source number
  * @retval None
  */
void assert_failed(uint8_t *file, uint32_t line)
{
  /* USER CODE BEGIN 6 */
	/* User can add his own implementation to report the file name and line number,
	 ex: printf("Wrong parameters value: file %s on line %d\r\n", file, line) */
	Error_Handler();
  /* USER CODE END 6 */
}
#endif /* USE_FULL_ASSERT */
